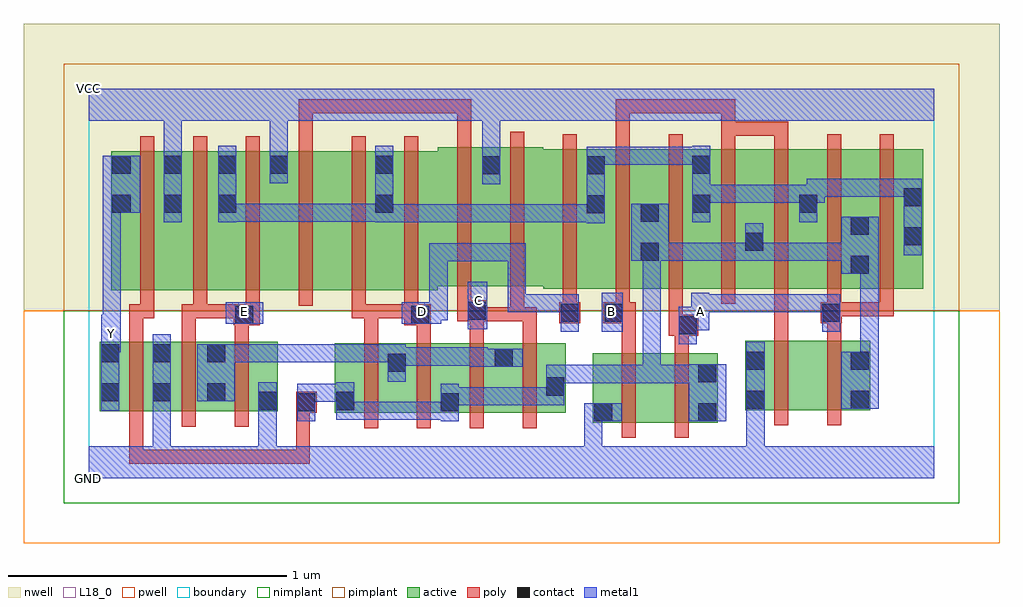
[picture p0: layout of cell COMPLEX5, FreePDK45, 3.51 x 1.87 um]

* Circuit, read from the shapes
.subckt COMPLEX5 A B C D E GND VCC Y
M1 GND n1 Y VSUBS nfet w=0.25u l=0.05u
M2 n2 E GND VSUBS nfet w=0.25u l=0.05u m=2
M3 n2 D n1 VSUBS nfet w=0.25u l=0.05u m=2
M4 n2 C n1 VSUBS nfet w=0.25u l=0.05u m=2
M5 n3 B GND VSUBS nfet w=0.25u l=0.05u
M6 n1 A n3 VSUBS nfet w=0.25u l=0.05u
M7 n4 B GND VSUBS nfet w=0.25u l=0.05u
M8 n1 A n4 VSUBS nfet w=0.25u l=0.05u
M9 VCC n1 Y n5 pfet w=0.5u l=0.05u
M10 n6 E VCC n5 pfet w=0.5u l=0.05u m=2
M11 n7 C VCC n5 pfet w=0.5u l=0.05u
M12 n6 D n7 n5 pfet w=0.5u l=0.05u
M13 n8 D n6 n5 pfet w=0.5u l=0.05u
M14 VCC C n8 n5 pfet w=0.5u l=0.05u
M15 n9 C VCC n5 pfet w=0.5u l=0.05u
M16 n6 D n9 n5 pfet w=0.5u l=0.05u
M17 n1 B n6 n5 pfet w=0.5u l=0.05u m=3
M18 n6 A n1 n5 pfet w=0.5u l=0.05u m=3
.ends

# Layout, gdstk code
import gdstk
lib = gdstk.Library(unit=1e-6, precision=1e-09)
def R(c, l, rs):  # rectangles x0, y0, x1, y1
    for r in rs: c.add(gdstk.rectangle(r[:2], r[2:], *l))
def A(c, l, x, y, w, h, nx, ny, dx, dy):  # array of equal rectangles
    R(c, l, [(x+i*dx, y+j*dy, x+i*dx+w, y+j*dy+h) for i in range(nx) for j in range(ny)])
active = (1, 0)
pwell = (2, 0)
nwell = (3, 0)
nimplant = (4, 0)
pimplant = (5, 0)
poly = (9, 0)
contact = (10, 0)
metal1 = (11, 0)
L18_0 = (18, 0)
boundary = (235, 0)

complex5 = lib.new_cell('COMPLEX5')
R(complex5, active, [(1.812,0.2,1.887,0.45), (1.812,0.2,2.037,0.45), (2.037,0.2,2.262,0.45), (2.187,0.2,2.262,0.45), (0.885,0.235,0.96,0.485), (0.885,0.235,1.145,0.485), (1.07,0.235,1.335,0.485), (1.26,0.235,1.53,0.485), (1.26,0.235,1.335,0.405), (1.455,0.235,1.715,0.485), (1.64,0.235,1.715,0.485), (0.04,0.24,0.3,0.49), (0.225,0.24,0.495,0.49), (0.225,0.24,0.3,0.487), (0.42,0.24,0.68,0.49), (0.42,0.24,0.495,0.487), (0.605,0.24,0.68,0.49), (2.36,0.245,2.435,0.495), (2.36,0.245,2.585,0.495), (2.585,0.245,2.81,0.495), (2.735,0.245,2.81,0.495), (0.04,0.272,0.115,0.49), (1.07,0.297,1.145,0.452), (1.455,0.297,1.53,0.47), (0.08,0.675,0.34,1.175), (0.08,0.675,0.155,1.175), (0.265,0.675,0.535,1.175), (0.265,0.675,0.34,1.165), (0.46,0.675,0.72,1.175), (0.46,0.675,0.535,1.175), (0.645,0.675,0.875,1.175), (0.875,0.675,1.1,1.175), (1.025,0.675,1.255,1.175), (1.025,0.675,1.1,1.165), (1.635,0.682,1.86,1.182), (1.785,0.682,2.055,1.182), (1.98,0.682,2.055,1.07), (1.98,0.682,2.24,1.182), (2.165,0.682,2.43,1.182), (2.355,0.682,2.625,1.182), (2.55,0.682,2.81,1.182), (2.735,0.682,3,1.182), (2.735,0.682,2.81,1.07), (2.925,0.682,3,1.157), (1.255,0.69,1.485,1.19), (1.41,0.69,1.635,1.19), (1.785,0.69,1.86,1.162), (2.165,0.69,2.24,1.165), (2.355,0.695,2.43,1.07), (2.55,0.7,2.625,1.157), (0.645,0.782,0.72,1.165), (1.41,0.807,1.485,1.162)])
R(complex5, pwell, [(-0.235,-0.235,3.275,0.602)])
R(complex5, nwell, [(-0.235,0.602,3.275,1.635)])
R(complex5, nimplant, [(-0.09,-0.09,3.13,0.602)])
R(complex5, pimplant, [(-0.09,0.602,3.13,1.49)])
A(complex5, poly, 0.99, 0.18, 0.05, 0.36, 4, 1, 0.19, 0)
A(complex5, poly, 0.145, 0.185, 0.05, 0.36, 3, 1, 0.19, 0)
A(complex5, poly, 0.185, 0.575, 0.05, 0.095, 3, 1, 0.19, 0)
A(complex5, poly, 2.465, 0.582, 0.05, 0.095, 3, 1, 0.19, 0)
A(complex5, poly, 0.185, 0.62, 0.05, 0.61, 6, 1, 0.19, 0)
A(complex5, poly, 1.705, 0.627, 0.05, 0.61, 7, 1, 0.19, 0)
R(complex5, poly, [(0.145,0.052,0.195,0.102), (0.145,0.052,0.195,0.102), (0.145,0.052,0.195,0.102), (0.145,0.052,0.367,0.102), (0.145,0.052,0.195,0.235), (0.317,0.052,0.367,0.102), (0.317,0.052,0.367,0.102), (0.317,0.052,0.367,0.102), (0.317,0.052,0.662,0.102), (0.612,0.052,0.662,0.102), (0.612,0.052,0.795,0.102), (0.745,0.052,0.795,0.102), (0.745,0.052,0.795,0.102), (0.745,0.052,0.795,0.102), (0.745,0.052,0.795,0.285), (1.917,0.145,1.967,0.505), (2.107,0.145,2.157,0.505), (2.465,0.19,2.515,0.55), (2.655,0.19,2.705,0.55), (0.745,0.235,0.82,0.31), (1.917,0.455,1.967,0.607), (2.107,0.455,2.157,0.562), (0.99,0.49,1.04,0.625), (1.18,0.49,1.23,0.6), (1.37,0.49,1.42,0.615), (1.56,0.49,1.61,0.615), (0.145,0.495,0.195,0.625), (0.335,0.495,0.385,0.625), (0.525,0.495,0.575,0.6), (2.465,0.5,2.515,0.632), (2.655,0.5,2.705,0.607), (2.085,0.512,2.192,0.587), (2.085,0.537,2.135,0.677), (0.522,0.55,0.615,0.625), (1.135,0.55,1.23,0.625), (1.692,0.557,1.767,0.632), (1.85,0.557,1.967,0.632), (2.632,0.557,2.707,0.632), (1.325,0.565,1.432,0.64), (1.382,0.565,1.565,0.615), (1.515,0.565,1.565,0.615), (1.515,0.565,1.565,0.615), (1.515,0.565,1.565,0.685), (1.515,0.565,1.61,0.615), (0.145,0.575,0.235,0.625), (0.335,0.575,0.425,0.625), (0.375,0.575,0.572,0.625), (0.522,0.575,0.572,0.625), (0.522,0.575,0.572,0.625), (0.945,0.575,0.995,0.67), (0.945,0.575,1.04,0.625), (0.99,0.575,1.185,0.625), (1.135,0.575,1.185,0.67), (1.135,0.575,1.185,0.625), (1.135,0.575,1.185,0.625), (1.705,0.582,1.755,0.677), (1.895,0.582,1.945,0.677), (2.465,0.582,2.515,0.632), (2.657,0.582,2.895,0.632), (2.845,0.582,2.895,0.632), (2.845,0.582,2.895,0.632), (2.845,0.582,2.895,0.632), (1.325,0.59,1.375,0.685), (1.325,0.635,1.375,1.245), (1.515,0.635,1.565,1.245), (0.755,1.18,0.805,1.362), (1.895,1.187,1.945,1.362), (2.275,1.187,2.325,1.282), (2.465,1.187,2.515,1.282), (1.325,1.195,1.375,1.362), (2.275,1.232,2.515,1.282), (2.275,1.232,2.325,1.362), (2.465,1.232,2.515,1.282), (2.465,1.232,2.515,1.282), (2.465,1.232,2.515,1.282), (0.755,1.312,0.805,1.362), (0.755,1.312,0.937,1.362), (0.887,1.312,0.937,1.362), (0.887,1.312,0.937,1.362), (0.887,1.312,0.937,1.362), (0.887,1.312,1.172,1.362), (1.122,1.312,1.172,1.362), (1.122,1.312,1.172,1.362), (1.122,1.312,1.172,1.362), (1.122,1.312,1.375,1.362), (1.325,1.312,1.375,1.362), (1.325,1.312,1.375,1.362), (1.325,1.312,1.375,1.362), (1.895,1.312,1.945,1.362), (1.895,1.312,1.945,1.362), (1.895,1.312,1.945,1.362), (1.895,1.312,2.077,1.362), (2.027,1.312,2.077,1.362), (2.027,1.312,2.325,1.362), (2.275,1.312,2.325,1.362), (2.275,1.312,2.325,1.362)])
R(complex5, contact, [(1.817,0.205,1.882,0.27), (2.192,0.205,2.257,0.27), (0.75,0.24,0.815,0.305), (1.265,0.24,1.33,0.305), (0.61,0.245,0.675,0.31), (0.89,0.245,0.955,0.31), (2.365,0.25,2.43,0.315), (2.74,0.25,2.805,0.315), (0.045,0.277,0.11,0.342), (0.23,0.277,0.295,0.342), (0.425,0.277,0.49,0.342), (1.645,0.297,1.71,0.362), (2.192,0.345,2.257,0.41), (1.075,0.382,1.14,0.447), (2.365,0.39,2.43,0.455), (2.74,0.39,2.805,0.455), (1.46,0.4,1.525,0.465), (0.045,0.417,0.11,0.482), (0.23,0.417,0.295,0.482), (0.425,0.417,0.49,0.482), (2.122,0.517,2.187,0.582), (0.527,0.555,0.592,0.62), (1.16,0.555,1.225,0.62), (1.697,0.562,1.762,0.627), (1.855,0.562,1.92,0.627), (2.637,0.562,2.702,0.627), (1.362,0.57,1.427,0.635), (2.74,0.735,2.805,0.8), (1.985,0.782,2.05,0.847), (2.36,0.817,2.425,0.882), (2.93,0.837,2.995,0.902), (2.74,0.875,2.805,0.94), (1.985,0.922,2.05,0.987), (1.79,0.952,1.855,1.017), (0.085,0.955,0.15,1.02), (0.27,0.955,0.335,1.02), (0.465,0.955,0.53,1.02), (1.03,0.955,1.095,1.02), (2.17,0.955,2.235,1.02), (2.555,0.955,2.62,1.02), (2.93,0.977,2.995,1.042), (1.415,1.092,1.48,1.157), (1.79,1.092,1.855,1.157), (0.085,1.095,0.15,1.16), (0.27,1.095,0.335,1.16), (0.465,1.095,0.53,1.16), (0.65,1.095,0.715,1.16), (1.03,1.095,1.095,1.16), (2.17,1.095,2.235,1.16)])
R(complex5, metal1, [(0,0,3.04,0.115), (0.23,0.05,0.295,0.307), (0.61,0.05,0.675,0.115), (0.61,0.05,0.675,0.115), (0.61,0.05,0.675,0.275), (1.782,0.05,1.847,0.115), (1.782,0.05,1.847,0.115), (1.782,0.05,1.847,0.27), (2.365,0.05,2.43,0.115), (2.365,0.05,2.43,0.115), (2.365,0.05,2.43,0.115), (2.365,0.05,2.43,0.115), (2.365,0.05,2.43,0.28), (0.75,0.205,0.815,0.34), (1.265,0.205,1.33,0.34), (1.782,0.205,1.847,0.27), (1.782,0.205,1.847,0.27), (1.782,0.205,1.917,0.27), (2.157,0.205,2.292,0.41), (0.61,0.21,0.675,0.275), (0.61,0.21,0.675,0.275), (0.61,0.21,0.675,0.345), (0.89,0.21,0.955,0.275), (0.89,0.21,0.955,0.275), (0.89,0.21,0.955,0.345), (0.89,0.21,1.14,0.275), (1.075,0.21,1.14,0.275), (1.075,0.21,1.14,0.275), (1.075,0.21,1.14,0.275), (1.075,0.21,1.33,0.275), (2.365,0.215,2.43,0.49), (0.045,0.242,0.11,0.517), (0.23,0.242,0.295,0.307), (0.23,0.242,0.295,0.307), (0.23,0.242,0.295,0.307), (0.23,0.242,0.295,0.307), (0.23,0.242,0.295,0.517), (2.705,0.25,2.84,0.455), (1.265,0.262,1.435,0.327), (1.37,0.262,1.435,0.327), (1.37,0.262,1.572,0.327), (1.507,0.262,1.572,0.327), (1.507,0.262,1.572,0.327), (1.507,0.262,1.572,0.327), (1.507,0.262,1.71,0.327), (1.645,0.262,1.71,0.397), (0.75,0.275,0.955,0.34), (0.39,0.277,0.525,0.482), (1.645,0.332,1.71,0.407), (1.645,0.342,1.71,0.407), (1.645,0.342,1.71,0.407), (1.645,0.342,1.71,0.407), (1.645,0.342,1.847,0.407), (1.782,0.342,1.847,0.407), (1.782,0.342,1.847,0.407), (1.782,0.342,1.847,0.407), (1.782,0.342,2.057,0.407), (1.992,0.342,2.057,0.407), (1.992,0.342,2.057,0.407), (1.992,0.342,2.057,0.407), (1.992,0.342,2.222,0.407), (1.992,0.342,2.057,0.847), (1.075,0.347,1.14,0.482), (2.775,0.39,2.84,0.455), (2.775,0.39,2.84,0.455), (2.775,0.39,2.84,0.8), (1.37,0.4,1.49,0.465), (1.37,0.4,1.435,0.47), (1.425,0.4,1.56,0.465), (1.075,0.405,1.14,0.47), (1.075,0.405,1.14,0.47), (1.075,0.405,1.277,0.47), (1.212,0.405,1.277,0.47), (1.212,0.405,1.435,0.47), (0.46,0.417,0.525,0.482), (0.46,0.417,0.525,0.482), (0.46,0.417,0.667,0.482), (0.602,0.417,0.667,0.482), (0.602,0.417,0.667,0.482), (0.602,0.417,0.667,0.482), (0.602,0.417,0.952,0.482), (0.887,0.417,0.952,0.482), (0.887,0.417,0.952,0.482), (0.887,0.417,0.952,0.482), (0.887,0.417,1.14,0.482), (0.045,0.452,0.11,0.517), (0.045,0.452,0.115,0.587), (2.122,0.482,2.187,0.617), (0.05,0.522,0.115,1.02), (1.697,0.527,1.762,0.662), (1.845,0.527,1.92,0.667), (2.637,0.527,2.702,0.662), (2.167,0.532,2.232,0.667), (1.362,0.535,1.432,0.707), (2.122,0.552,2.232,0.617), (0.492,0.555,0.627,0.632), (1.125,0.555,1.267,0.632), (1.202,0.567,1.29,0.632), (1.225,0.567,1.29,0.632), (1.225,0.567,1.29,0.845), (1.507,0.597,1.572,0.662), (1.507,0.597,1.572,0.662), (1.507,0.597,1.572,0.662), (1.507,0.597,1.71,0.662), (1.507,0.597,1.572,0.845), (1.645,0.597,1.71,0.662), (1.645,0.597,1.762,0.662), (2.167,0.597,2.372,0.662), (2.307,0.597,2.372,0.662), (2.307,0.597,2.372,0.662), (2.307,0.597,2.372,0.662), (2.307,0.597,2.51,0.662), (2.445,0.597,2.51,0.662), (2.445,0.597,2.632,0.662), (2.567,0.597,2.632,0.662), (2.567,0.597,2.702,0.662), (2.705,0.735,2.84,0.94), (1.225,0.78,1.29,0.845), (1.225,0.78,1.405,0.845), (1.34,0.78,1.405,0.845), (1.34,0.78,1.572,0.845), (1.507,0.78,1.572,0.845), (1.95,0.782,2.085,0.987), (1.992,0.782,2.057,0.847), (1.992,0.782,2.057,0.847), (2.02,0.782,2.235,0.847), (2.17,0.782,2.235,0.847), (2.17,0.782,2.235,0.847), (2.17,0.782,2.235,0.847), (2.17,0.782,2.372,0.847), (2.307,0.782,2.372,0.847), (2.307,0.782,2.425,0.847), (2.36,0.782,2.425,0.917), (2.36,0.782,2.51,0.847), (2.445,0.782,2.51,0.847), (2.445,0.782,2.632,0.847), (2.567,0.782,2.632,0.847), (2.567,0.782,2.77,0.847), (2.705,0.782,2.77,0.847), (2.705,0.782,2.77,0.847), (2.93,0.802,2.995,1.077), (1.79,0.917,1.855,1.192), (0.27,0.92,0.335,1.195), (0.465,0.92,0.53,1.195), (1.03,0.92,1.095,0.985), (1.03,0.92,1.095,0.985), (1.03,0.92,1.095,1.195), (1.03,0.92,1.277,0.985), (1.212,0.92,1.277,0.985), (1.212,0.92,1.435,0.985), (1.37,0.92,1.435,0.985), (1.37,0.92,1.572,0.985), (1.507,0.92,1.572,0.985), (1.507,0.92,1.572,0.985), (1.507,0.92,1.572,0.985), (1.507,0.92,1.71,0.985), (1.645,0.92,1.71,0.985), (1.645,0.92,1.71,0.985), (1.645,0.92,1.71,0.985), (1.645,0.92,1.855,0.985), (2.17,0.92,2.235,1.195), (2.555,0.92,2.62,1.055), (0.465,0.922,0.53,0.987), (0.465,0.922,0.53,0.987), (0.465,0.922,0.815,0.987), (0.75,0.922,0.815,0.987), (0.75,0.922,0.815,0.987), (0.75,0.922,0.815,0.987), (0.75,0.922,0.957,0.987), (0.892,0.922,0.957,0.987), (0.892,0.922,0.957,0.987), (0.892,0.922,0.957,0.987), (0.892,0.922,1.095,0.987), (0.05,0.955,0.185,1.16), (2.17,0.99,2.372,1.055), (2.307,0.99,2.372,1.055), (2.307,0.99,2.372,1.055), (2.307,0.99,2.372,1.055), (2.307,0.99,2.51,1.055), (2.445,0.99,2.51,1.055), (2.445,0.99,2.62,1.055), (2.555,0.99,2.647,1.055), (2.582,0.99,2.647,1.077), (2.582,1.012,2.857,1.077), (2.792,1.012,2.857,1.077), (2.792,1.012,2.995,1.077), (2.93,1.012,2.995,1.077), (2.93,1.012,2.995,1.077), (1.415,1.057,1.48,1.192), (0.65,1.06,0.715,1.195), (1.415,1.127,1.48,1.192), (1.415,1.127,1.48,1.192), (1.415,1.127,1.48,1.35), (1.79,1.127,1.855,1.192), (1.79,1.127,1.855,1.192), (1.79,1.127,2.085,1.192), (2.02,1.127,2.085,1.192), (2.02,1.127,2.085,1.192), (2.02,1.127,2.085,1.192), (2.02,1.127,2.235,1.192), (0.27,1.13,0.335,1.195), (0.27,1.13,0.335,1.195), (0.27,1.13,0.335,1.35), (0.65,1.13,0.715,1.35), (0,1.285,3.04,1.4), (0.65,1.285,0.715,1.35), (0.65,1.285,0.715,1.35)])
R(complex5, L18_0, [(0,0,3.04,0.115), (0.23,0.05,0.295,0.307), (0.61,0.05,0.675,0.115), (0.61,0.05,0.675,0.115), (0.61,0.05,0.675,0.275), (1.782,0.05,1.847,0.115), (1.782,0.05,1.847,0.115), (1.782,0.05,1.847,0.27), (2.365,0.05,2.43,0.115), (2.365,0.05,2.43,0.115), (2.365,0.05,2.43,0.115), (2.365,0.05,2.43,0.115), (2.365,0.05,2.43,0.28), (1.782,0.205,1.847,0.27), (1.782,0.205,1.847,0.27), (1.782,0.205,1.917,0.27), (0.61,0.21,0.675,0.275), (0.61,0.21,0.675,0.275), (0.61,0.21,0.675,0.345), (2.365,0.215,2.43,0.49), (0.045,0.242,0.11,0.517), (0.23,0.242,0.295,0.517), (0.23,0.242,0.295,0.307), (0.23,0.242,0.295,0.307), (0.23,0.242,0.295,0.307), (0.23,0.242,0.295,0.307), (0.045,0.452,0.115,0.587), (0.045,0.452,0.11,0.517), (2.122,0.482,2.187,0.617), (0.047,0.487,0.112,0.552), (0.05,0.522,0.115,1.02), (1.697,0.527,1.762,0.662), (1.845,0.527,1.92,0.667), (2.637,0.527,2.702,0.662), (2.167,0.532,2.232,0.667), (1.362,0.535,1.432,0.707), (2.122,0.552,2.232,0.617), (0.492,0.555,0.627,0.632), (1.125,0.555,1.267,0.632), (0.527,0.567,0.592,0.632), (1.167,0.567,1.232,0.632), (1.202,0.567,1.29,0.632), (1.225,0.567,1.29,0.632), (1.225,0.567,1.29,0.845), (1.847,0.567,1.912,0.632), (2.167,0.567,2.232,0.632), (1.507,0.597,1.572,0.662), (1.507,0.597,1.572,0.662), (1.507,0.597,1.572,0.662), (1.507,0.597,1.572,0.845), (1.507,0.597,1.71,0.662), (1.645,0.597,1.71,0.662), (1.645,0.597,1.762,0.662), (2.167,0.597,2.372,0.662), (2.307,0.597,2.372,0.662), (2.307,0.597,2.372,0.662), (2.307,0.597,2.372,0.662), (2.307,0.597,2.51,0.662), (2.445,0.597,2.51,0.662), (2.445,0.597,2.632,0.662), (2.567,0.597,2.632,0.662), (2.567,0.597,2.702,0.662), (1.367,0.607,1.432,0.672), (1.225,0.78,1.29,0.845), (1.225,0.78,1.405,0.845), (1.34,0.78,1.405,0.845), (1.34,0.78,1.572,0.845), (1.507,0.78,1.572,0.845), (0.27,0.92,0.335,1.195), (0.05,0.955,0.185,1.16), (1.415,1.057,1.48,1.192), (0.65,1.06,0.715,1.195), (1.415,1.127,1.48,1.192), (1.415,1.127,1.48,1.192), (1.415,1.127,1.48,1.35), (0.27,1.13,0.335,1.195), (0.27,1.13,0.335,1.195), (0.27,1.13,0.335,1.35), (0.65,1.13,0.715,1.35), (0,1.285,3.04,1.4), (0.65,1.285,0.715,1.35), (0.65,1.285,0.715,1.35)])
R(complex5, boundary, [(0,0,3.04,1.4)])
complex5.add(gdstk.Label('A', (2.2,0.6), layer=11, texttype=0))
complex5.add(gdstk.Label('B', (1.88,0.6), layer=11, texttype=0))
complex5.add(gdstk.Label('C', (1.4,0.64), layer=11, texttype=0))
complex5.add(gdstk.Label('D', (1.2,0.6), layer=11, texttype=0))
complex5.add(gdstk.Label('E', (0.56,0.6), layer=11, texttype=0))
complex5.add(gdstk.Label('Y', (0.08,0.52), layer=11, texttype=0))
complex5.add(gdstk.Label('VCC', (0,1.4), layer=11, texttype=0))
complex5.add(gdstk.Label('GND', (0,0), layer=11, texttype=0))

lib.write_gds('COMPLEX5.gds')
